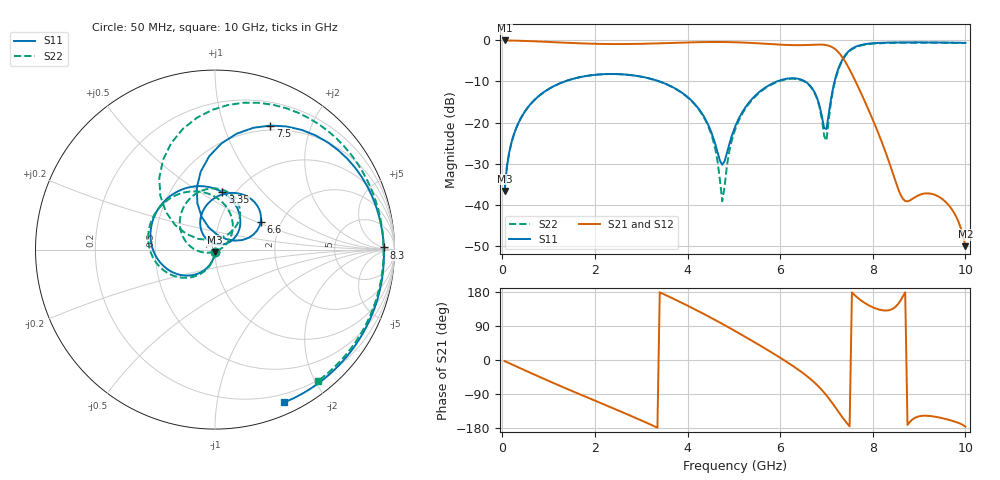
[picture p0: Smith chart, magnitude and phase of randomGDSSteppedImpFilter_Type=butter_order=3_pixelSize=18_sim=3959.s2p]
! freq	dB(S11)	phase(S11)	dB(S12)	phase(S12)
!  dB(S21)	phase(S21)	dB(S22)	phase(S22)
!S-par simulation data
#  GHz  S  DB  R 50
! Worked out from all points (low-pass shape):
!   200 points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, 50 MHz to 10 GHz, reference 50 ohm
!   highest |S21| = -0.01 dB at 50 MHz (marker M1); lowest = -50.1 dB at 10 GHz (marker M2)
!   |S21| within 3 dB of the highest: start of sweep to 7.268 GHz
!   lowest |S11| = -36.7 dB at 50 MHz (marker M3), VSWR 1.03, Z = 49.9 - j1.46 ohm
!   |S11| at or under -10 dB: start of sweep to 1.348 GHz; 3.396 GHz to 5.93 GHz (2.534 GHz wide, 54.4 % of centre); 6.536 GHz to 7.176 GHz (639.6 MHz wide, 9.33 % of centre)
!   |S22| runs from -39.2 to -0.5 dB; largest |S21 - S12| = 0
!   S11 on the Smith chart (normalised r, x): 50 MHz: 1.00, -0.03; 3.35 GHz: 0.88, +0.63; 6.6 GHz: 1.57, +0.53; 7.5 GHz: 0.45, +1.44; 8.3 GHz: 31, +6; 10 GHz: 0.11, -1.54
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0.05  -36.68 -92.6  -0.01 -2.9  -0.01 -2.9  -36.69 -92.4
0.2  -24.81 -102.0  -0.03 -11.3  -0.03 -11.3  -24.81 -100.9
0.5  -17.13 -119.7  -0.12 -28.0  -0.12 -28.0  -17.12 -117.1
1.75  -8.79 170.4  -0.74 -94.4  -0.74 -94.4  -8.79 179.6
3.35  -9.83 82.8  -0.72 -178.5  -0.72 -178.5  -9.85 100.0
3.4  -10.02 80.0  -0.71 178.6  -0.71 178.6  -10.04 97.3
4.4  -19.50 28.4  -0.39 118.4  -0.39 118.4  -19.76 36.3
4.6  -25.31 32.5  -0.37 105.4  -0.37 105.4  -26.53 17.0
4.75  -30.30 77.0  -0.38 95.4  -0.38 95.4  -39.19 -59.7
5.05  -20.43 128.9  -0.45 74.9  -0.45 74.9  -21.04 -173.5
5.9  -10.13 81.9  -0.96 13.6  -0.96 13.6  -10.29 121.4
6.6  -10.51 31.3  -1.11 -44.7  -1.11 -44.7  -10.63 64.9
6.7  -11.81 24.3  -1.06 -55.0  -1.06 -55.0  -11.94 56.3
7  -21.58 81.4  -1.14 -93.2  -1.14 -93.2  -24.45 117.6
7.2  -8.89 106.4  -2.23 -126.4  -2.23 -126.4  -9.26 142.5
7.5  -2.42 66.0  -7.10 -175.1  -7.10 -175.1  -2.59 97.8
7.85  -0.87 30.3  -15.42 148.7  -15.42 148.7  -0.99 58.7
8.3  -0.53 0.7  -27.96 130.7  -27.96 130.7  -0.62 25.5
8.35  -0.52 -2.0  -29.56 131.5  -29.56 131.5  -0.60 22.4
8.7  -0.48 -18.8  -39.13 178.6  -39.13 178.6  -0.54 3.0
9.6  -0.53 -52.9  -39.65 -156.5  -39.65 -156.5  -0.57 -36.8
10  -0.59 -65.7  -50.14 -175.8  -50.14 -175.8  -0.63 -51.8
